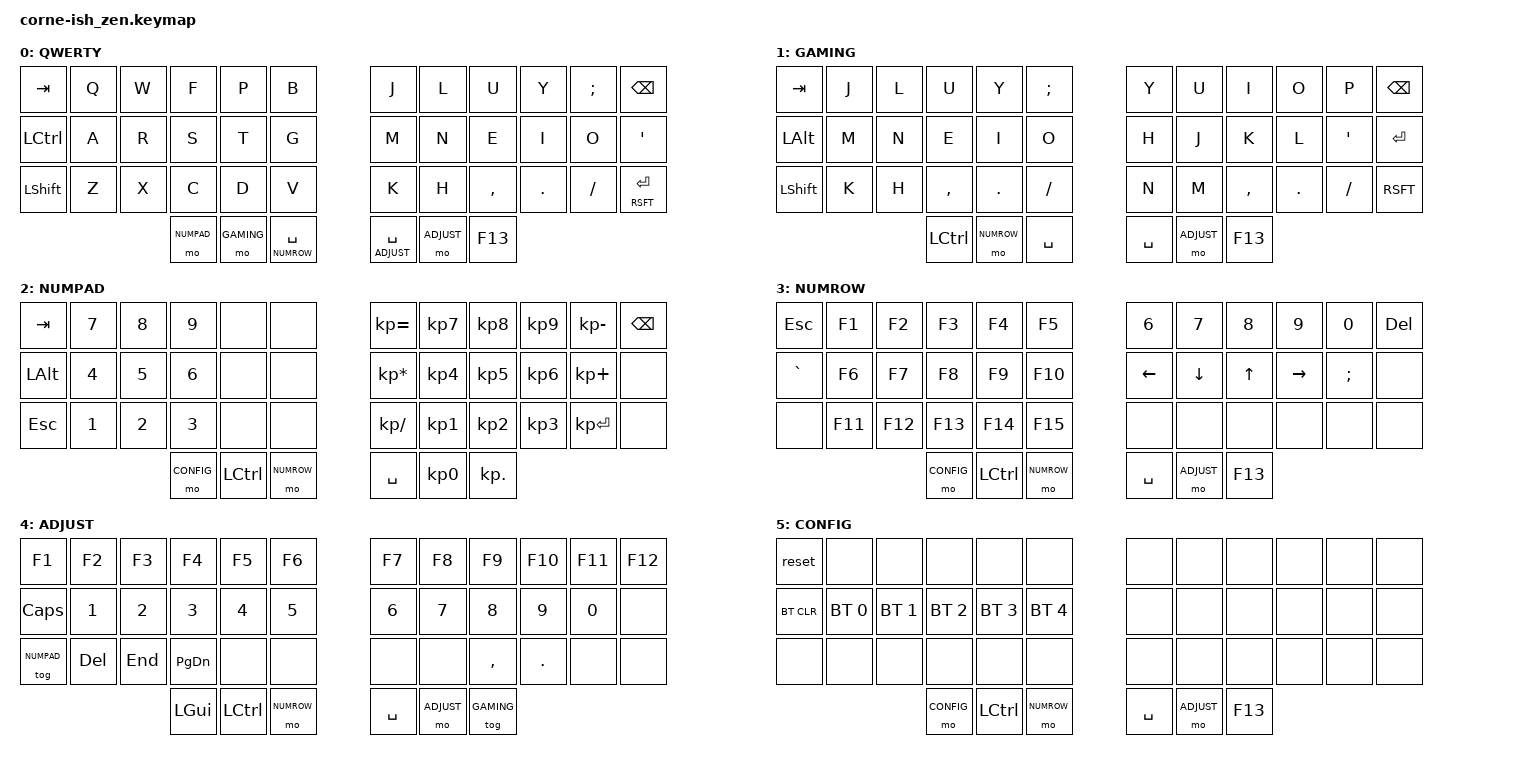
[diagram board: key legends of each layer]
/*
*
* Copyright (c) 2021 lowprokb.ca
* SPDX-License-Identifier: MIT
*
*/

#include <behaviors.dtsi>
#include <dt-bindings/zmk/keys.h>
#include <dt-bindings/zmk/bt.h>

#define QWERTY 0
#define GAMING 1
#define NUMPAD 2
#define NUMROW 3
#define ADJUST 4
#define CONFIG 5

/ {
        keymap {
                compatible = "zmk,keymap";

                default_layer {
                        label = "QWERTY";
                        bindings = <
   &kp TAB   &kp Q &kp W &kp F &kp P &kp B    &kp J &kp L &kp U    &kp Y   &kp SEMICOLON    &kp BKSP
   &kp LCTRL  &kp A &kp R &kp S &kp T &kp G    &kp M &kp N &kp E    &kp I   &kp O &kp APOSTROPHE
   &kp LSHFT &kp Z &kp X &kp C &kp D &kp V    &kp K &kp H &kp CMMA &kp DOT &kp FSLH &mt RSFT ENTER
              &mo NUMPAD &mo GAMING &lt NUMROW SPACE    &lt ADJUST SPACE &mo ADJUST &kp F13
                        >;
                };

                gaming_layer {
                        label = "GAMING";
                        bindings = <
   &kp TAB   &kp J &kp L &kp U &kp Y &kp SEMICOLON    &kp Y &kp U &kp I    &kp O   &kp P    &kp BKSP
   &kp LALT  &kp M &kp N &kp E &kp I &kp O    &kp H &kp J &kp K    &kp L   &kp QUOT &kp ENTER
   &kp LSHFT &kp K &kp H &kp CMMA &kp DOT &kp FSLH    &kp N &kp M &kp CMMA &kp DOT &kp FSLH &kp RSFT
               &kp LCTL &mo NUMROW &kp SPC    &kp SPC &mo ADJUST &kp F13
                        >;
                };

                numpad_layer {
                        label = "NUMPAD";
                        bindings = < 
   &kp TAB     &kp N7 &kp N8 &kp N9 &none &none    &kp KP_EQUAL    &kp KP_N7 &kp KP_N8 &kp KP_N9 &kp KP_MINUS &kp BSPC
   &kp LALT &kp N4 &kp N5 &kp N6 &none &none    &kp KP_ASTERISK &kp KP_N4 &kp KP_N5 &kp KP_N6 &kp KP_PLUS  &none
   &kp ESC &kp N1 &kp N2 &kp N3 &none &none    &kp KP_SLASH    &kp KP_N1 &kp KP_N2 &kp KP_N3 &kp KP_ENTER &none
              &mo CONFIG &kp LCTL &mo NUMROW    &kp SPC &kp KP_N0 &kp KP_DOT
                        >;
                };

                numrow_layer {
                        label = "NUMROW";
                        bindings = <
   &kp ESC   &kp F1 &kp F2 &kp F3    &kp F4    &kp F5       &kp N6   &kp N7   &kp N8 &kp N9    &kp N0   &kp DEL
   &kp GRAVE &kp F6  &kp F7  &kp F8 &kp F9 &kp F10   &kp LEFT &kp DOWN &kp UP &kp RIGHT &kp SEMI &none
   &none     &kp F11  &kp F12  &kp F13  &kp F14  &kp F15     &none    &none    &none  &none     &none    &none 
                          &mo CONFIG &kp LCTL &mo NUMROW    &kp SPC &mo ADJUST &kp F13
                        >;
                };

                adjust_layer {
                        label = "ADJUST";
                        bindings = <
   &kp F1      &kp F2  &kp F3   &kp F4    &kp F5 &kp F6    &kp F7   &kp F8   &kp F9 &kp F10   &kp F11 &kp F12
   &kp CAPS    &kp N1 &kp N2 &kp N3 &kp N4  &kp N5    &kp N6 &kp N7 &kp N8 &kp N9 &kp N0  &none
   &tog NUMPAD &kp DEL &kp END  &kp PG_DN &none  &none     &none    &none    &kp CMMA  &kp DOT     &none   &none
                           &kp LGUI &kp LCTL &mo NUMROW    &kp SPC &mo ADJUST &tog GAMING
                        >;
                };

                config_layer {
                        label = "CONFIG";
                        bindings = <
   &reset     &none        &none        &none        &none        &none           &none &none &none &none &none &none 
   &bt BT_CLR &bt BT_SEL 0 &bt BT_SEL 1 &bt BT_SEL 2 &bt BT_SEL 3 &bt BT_SEL 4    &none &none &none &none &none &none
   &none      &none        &none        &none        &none        &none           &none &none &none &none &none &none
                                                &mo CONFIG &kp LCTL &mo NUMROW    &kp SPC &mo ADJUST &kp F13
                        >;
                };
        };
};
